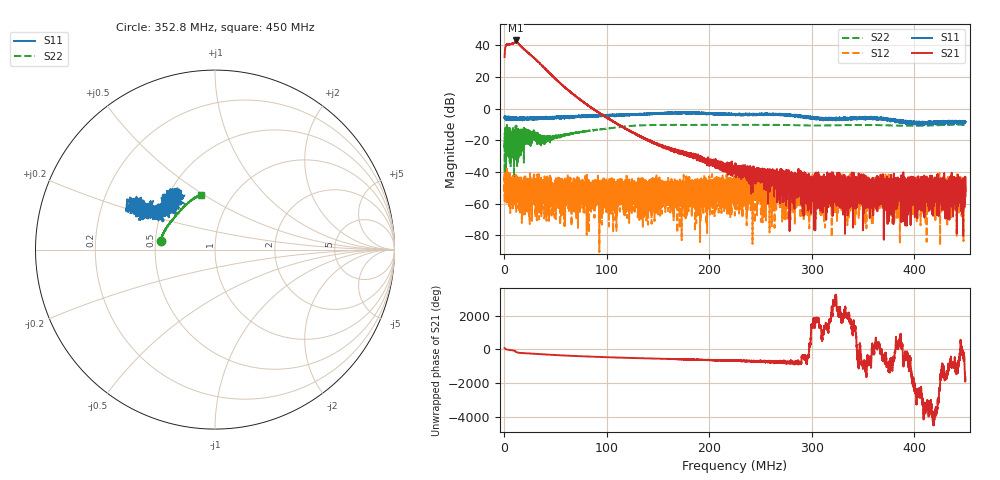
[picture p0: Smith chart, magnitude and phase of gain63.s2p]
# Hz S DB R 50
! CMT, M5065, 19127446, 24.2.4/2
! Date: 12/3/2024 4:18:19 PM
! Data: Format (Calibration Info)
! Freq	S11:dB/Ang(F2)	S21:dB/Ang(F2)	S12:dB/Ang(F2)	S22:dB/Ang(F2)
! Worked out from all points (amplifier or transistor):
!   9000 points, 300 kHz to 450 MHz, reference 50 ohm
!   highest |S21| = 43.1 dB at 11.09 MHz (marker M1)
!   |S21| within 3 dB of that: 1.762 MHz to 15.22 MHz (13.46 MHz wide, 159 % of centre)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
!   unconditionally stable (mu >= 1): 14.09 MHz to 15.95 MHz; 16.39 MHz to 19.08 MHz; 19.09 MHz to end of sweep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
!   at 75.26 MHz: K = 89.81, MAG = 7.0 dB, |S12| = -54.0 dB
!   at 225.2 MHz: K = 10741.32, MAG = -37.2 dB, |S12| = -52.2 dB
!   at 450 MHz: K = 74355.53, MAG = -50.8 dB, |S12| = -53.8 dB
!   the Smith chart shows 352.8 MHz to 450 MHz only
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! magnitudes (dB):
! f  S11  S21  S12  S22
! 300 kHz  -5.7  32.6  -52.3  -24.6
! 2.998 MHz  -5.7  40.5  -40.0  -11.5
! 11.09 MHz  -6.5  43.1  -41.8  -12.9
! 22.59 MHz  -5.5  35.7  -47.5  -18.7
! 42.13 MHz  -5.9  23.9  -53.9  -19.4
! 62.42 MHz  -5.3  11.7  -46.6  -16.3
! 67.61 MHz  -5.4  9.0  -50.3  -15.3
! 75.26 MHz  -4.8  5.1  -54.0  -14.6
! 94.05 MHz  -4.7  -3.2  -47.9  -13.1
! 150.2 MHz  -3.1  -22.6  -45.3  -10.3
! 167.9 MHz  -2.6  -26.2  -51.4  -10.2
! 172.4 MHz  -2.7  -28.7  -57.8  -10.3
! 180.4 MHz  -2.6  -30.4  -48.8  -10.3
! 225.2 MHz  -3.8  -39.9  -52.2  -10.2
! 266.5 MHz  -3.4  -43.3  -50.0  -10.2
! 300.1 MHz  -5.5  -44.8  -56.4  -10.6
! 375.1 MHz  -6.5  -56.7  -55.1  -10.5
! 407.7 MHz  -9.4  -53.1  -50.6  -10.7
! 421.4 MHz  -8.5  -47.4  -52.0  -10.5
! 430.8 MHz  -9.0  -56.9  -47.9  -10.3
! 435.2 MHz  -8.4  -44.4  -52.8  -10.2
! 450 MHz  -8.4  -51.9  -53.8  -10.1
